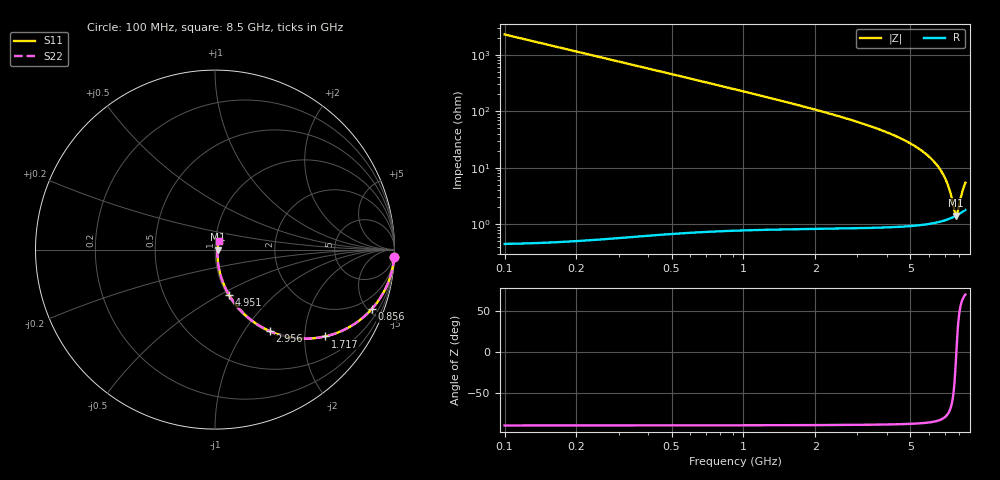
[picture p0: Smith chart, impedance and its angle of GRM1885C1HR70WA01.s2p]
!Murata Part Number: GRM1885C1HR70WA01
!These Parameters are Measured in Series Mode Connection
!Data Generated on Mar 30, 2021
!  o--ll--o
!Port1  Port2
!  o------o
!Operation Temp=25[degC], DC Bias Voltage=0[V]
!Freq. Start=100[MHz] Stop=9[GHz] 401[Steps]
# Hz S RI R 50
!Freq.(Hz) S11(Real) S11(Imag) S21(Real) S21(Imag) S12(Real) S12(Imag) S22(Real) S22(Imag)
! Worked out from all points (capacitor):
!   401 points, 100 MHz to 8.5 GHz, reference 50 ohm
!   read as one part in series: C = 700 fF near 142 MHz
!   lowest |Z| = 1.42 ohm at 7.786 GHz (marker M1)
!   series resonance near 7.789 GHz, so ESL is about 600 pH
!   S11 on the Smith chart (normalised r, x): 100 MHz: 1, -45; 856 MHz: 1.02, -5.25; 1.717 GHz: 1.02, -2.52; 2.956 GHz: 1.02, -1.32; 4.951 GHz: 1.02, -0.55; 8.5 GHz: 1.04, +0.10
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1e8  0.9981 -0.0439  0.00194 0.0439  0.00194 0.0439  0.9981 -0.0439
2.26e8  0.9901 -0.0985  0.00985 0.0985  0.00985 0.0985  0.9901 -0.0985
3.73e8  0.9735 -0.1601  0.0265 0.1601  0.0265 0.1601  0.9735 -0.1601
5.83e8  0.9372 -0.2417  0.0628 0.2417  0.0628 0.2417  0.9372 -0.2417
8.56e8  0.8724 -0.3322  0.1276 0.3322  0.1276 0.3322  0.8724 -0.3322
1.15e9  0.788 -0.4067  0.212 0.4067  0.212 0.4067  0.788 -0.4067
1.507e9  0.6773 -0.4647  0.3227 0.4647  0.3227 0.4647  0.6773 -0.4647
1.717e9  0.6127 -0.4839  0.3873 0.4839  0.3873 0.4839  0.6127 -0.4839
2.242e9  0.4643 -0.4943  0.5357 0.4943  0.5357 0.4943  0.4643 -0.4943
2.914e9  0.3131 -0.4575  0.6869 0.4575  0.6869 0.4575  0.3131 -0.4575
2.956e9  0.3052 -0.4541  0.6948 0.4541  0.6948 0.4541  0.3052 -0.4541
4.3e9  0.1256 -0.3196  0.8744 0.3196  0.8744 0.3196  0.1256 -0.3196
4.951e9  0.0776 -0.2513  0.9224 0.2513  0.9224 0.2513  0.0776 -0.2513
5.707e9  0.0421 -0.1761  0.9579 0.1761  0.9579 0.1761  0.0421 -0.1761
6.526e9  0.0212 -0.1013  0.9788 0.1013  0.9788 0.1013  0.0212 -0.1013
7.114e9  0.0146 -0.052  0.9854 0.052  0.9854 0.052  0.0146 -0.052
7.387e9  0.0136 -0.0304  0.9864 0.0304  0.9864 0.0304  0.0136 -0.0304
7.702e9  0.0137 -0.00642  0.9863 0.00642  0.9863 0.00642  0.0137 -0.00642
7.786e9  0.014 -0.000226  0.986 0.000226  0.986 0.000226  0.014 -0.000226
7.87e9  0.0144 0.00589  0.9856 -0.00589  0.9856 -0.00589  0.0144 0.00589
8.227e9  0.017 0.0309  0.983 -0.0309  0.983 -0.0309  0.017 0.0309
8.5e9  0.0201 0.0489  0.9799 -0.0489  0.9799 -0.0489  0.0201 0.0489
